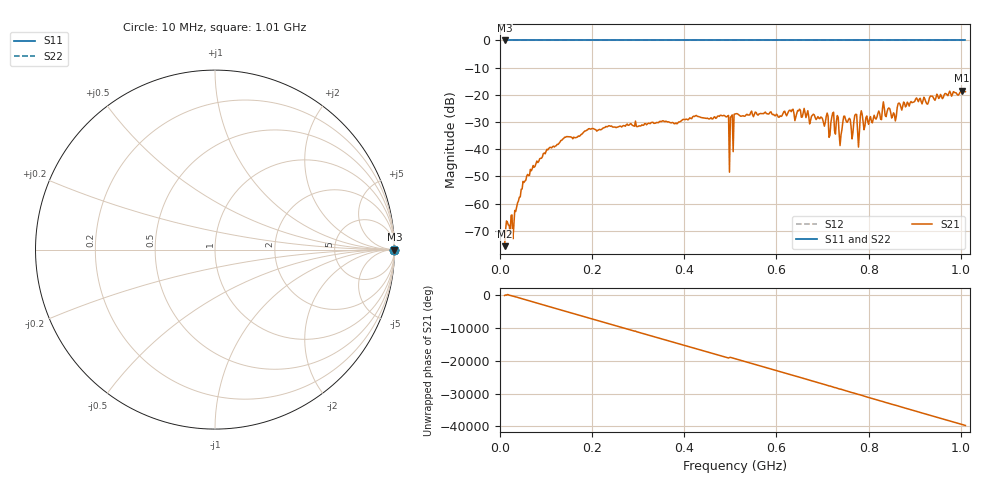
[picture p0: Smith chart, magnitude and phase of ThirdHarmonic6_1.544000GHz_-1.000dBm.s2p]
! 8/16/2025 6:19:08 PM
! C:\ANRITSUVNA\TEMP\TEMP.S2P
! CHANNEL.1
! TR.MEASUREMENT
! RAW.DATA
! RF.CORRECTION.OFF
! AVERAGING.OFF
! IF.BANDWIDTH: 5KHZ
! SWEEPTYPE:  FREQ.SWEEP(Linear)
! Reference Plane Port Info
! PORT:  PORT1  PORT2
! DISTANCE:  0  m  0  m
! TIME:  0  s  0  s
! PHASE.OFFSET:  0  deg.  0  deg.
! LOSS:  0  dB  0  dB
! REF.LOSS:  0  dB  0  dB
! REF.FREQ:  0  Hz  0  Hz
! Power Info
! POWER:  -20  dBm  -20  dBm
! EFF.POWER:  -20  dBm  -20  dBm
! SOURCE.ATTEN:  0  dB  0  dB
! TEST.ATTEN:  0  dB  0  dB
# GHZ S RI R 50.0
! FREQ.GHZ  S11RE  S11IM  S21RE  S21IM  S12RE  S12IM  S22RE  S22IM
!; PortSelection: Port_12
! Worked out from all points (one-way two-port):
!   501 points, 10 MHz to 1.01 GHz, reference 50 ohm
!   highest |S21| = -18.50 dB at 1.002 GHz (marker M1); lowest = -75.6 dB at 10 MHz (marker M2)
!   lowest |S11| = 0.0 dB at 10 MHz (marker M3)
!   |S11| at or under -10 dB: nowhere
!   |S22| runs from 0.0 to 0.0 dB; largest |S21 - S12| = 1.1
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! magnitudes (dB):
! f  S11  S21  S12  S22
! 10 MHz  0.0  -75.6  0.0  0.0
! 70 MHz  0.0  -47.2  0.0  0.0
! 106 MHz  0.0  -39.7  0.0  0.0
! 178 MHz  0.0  -34.4  0.0  0.0
! 344 MHz  0.0  -30.2  0.0  0.0
! 492 MHz  0.0  -28.1  0.0  0.0
! 494 MHz  0.0  -27.8  0.0  0.0
! 502 MHz  0.0  -27.9  0.0  0.0
! 504 MHz  0.0  -27.4  0.0  0.0
! 510 MHz  0.0  -27.0  0.0  0.0
! 512 MHz  0.0  -27.0  0.0  0.0
! 678 MHz  0.0  -27.5  0.0  0.0
! 722 MHz  0.0  -26.7  0.0  0.0
! 740 MHz  0.0  -34.8  0.0  0.0
! 748 MHz  0.0  -27.8  0.0  0.0
! 778 MHz  0.0  -39.2  0.0  0.0
! 784 MHz  0.0  -25.9  0.0  0.0
! 844 MHz  0.0  -24.8  0.0  0.0
! 854 MHz  0.0  -26.6  0.0  0.0
! 866 MHz  0.0  -23.0  0.0  0.0
! 1.002 GHz  0.0  -18.5  0.0  0.0
! 1.01 GHz  0.0  -18.8  0.0  0.0
